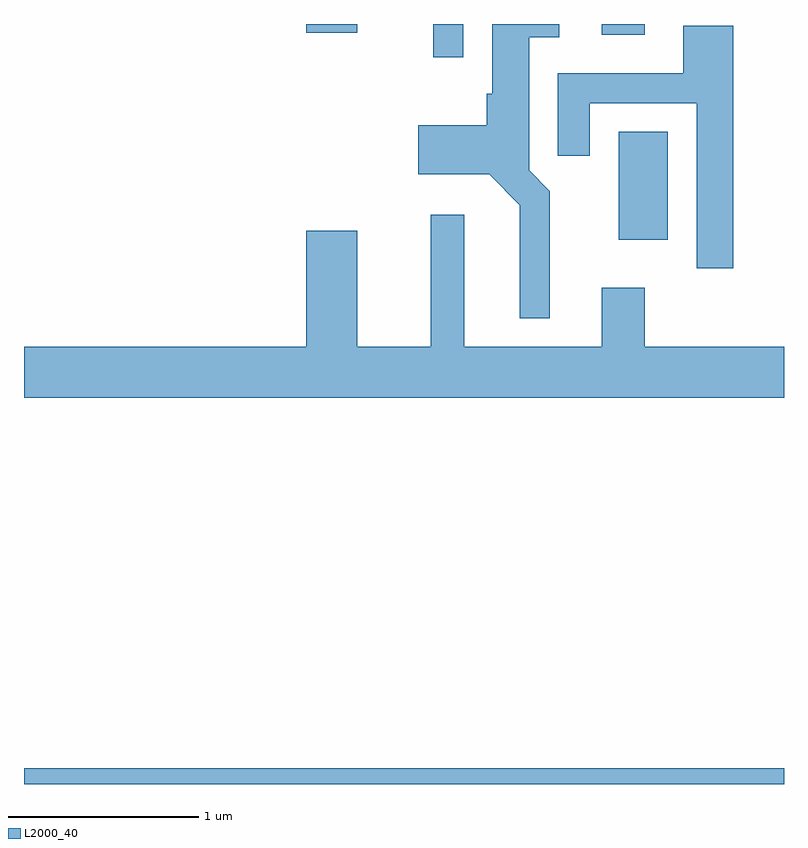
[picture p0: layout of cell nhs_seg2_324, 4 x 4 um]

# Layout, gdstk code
import gdstk
lib = gdstk.Library(unit=1e-6, precision=1e-09)
def R(c, l, rs):  # rectangles x0, y0, x1, y1
    for r in rs: c.add(gdstk.rectangle(r[:2], r[2:], *l))
def P(c, l, *ps):  # polygons
    for p in ps: c.add(gdstk.Polygon(p, *l))
L2000_40 = (2000, 40)

nhs_seg2_324 = lib.new_cell('nhs_seg2_324')
R(nhs_seg2_324, L2000_40, [(193.611,1081.802,197.611,1081.884), (196.741,1084.666,196.999,1085.234), (195.766,1085.628,195.924,1085.802), (196.651,1085.746,196.879,1085.802), (195.096,1085.756,195.364,1085.802)])
P(nhs_seg2_324, L2000_40, [(196.379,1084.922),(196.269,1085.032),(196.269,1085.731),(196.428,1085.731),(196.428,1085.802),(196.076,1085.802),(196.076,1085.434),(196.046,1085.434),(196.046,1085.269),(195.686,1085.269),(195.686,1085.011),(196.059,1085.011),(196.221,1084.849),(196.221,1084.253),(196.379,1084.253)],
  [(197.344,1085.794),(197.081,1085.794),(197.081,1085.544),(196.421,1085.544),(196.421,1085.108),(196.589,1085.108),(196.589,1085.386),(197.151,1085.386),(197.151,1084.516),(197.344,1084.516)],
  [(197.611,1084.104),(196.879,1084.104),(196.879,1084.414),(196.651,1084.414),(196.651,1084.104),(195.929,1084.104),(195.929,1084.799),(195.751,1084.799),(195.751,1084.104),(195.364,1084.104),(195.364,1084.714),(195.096,1084.714),(195.096,1084.104),(193.611,1084.104),(193.611,1083.836),(197.611,1083.836)])

lib.write_gds('nhs_seg2_324.gds')
